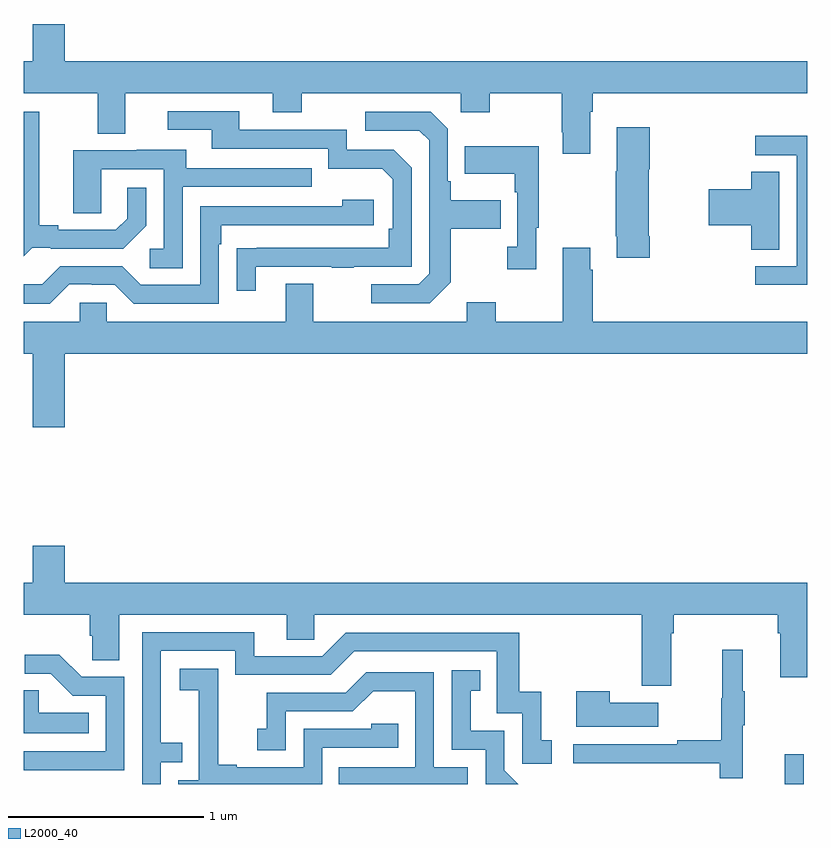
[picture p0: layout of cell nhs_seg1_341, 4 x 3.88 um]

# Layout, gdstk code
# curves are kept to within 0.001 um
import gdstk
lib = gdstk.Library(unit=1e-6, precision=1e-09)
def R(c, l, rs):  # rectangles x0, y0, x1, y1
    for r in rs: c.add(gdstk.rectangle(r[:2], r[2:], *l))
def P(c, l, *ps):  # polygons
    for p in ps: c.add(gdstk.Polygon(p, *l))
L2000_40 = (2000, 40)

nhs_seg1_341 = lib.new_cell('nhs_seg1_341')
R(nhs_seg1_341, L2000_40, [(132.885,552.199,132.982,552.352)])
P(nhs_seg1_341, L2000_40, [(131.893,555.632),(131.906,555.632),(131.906,555.728),(133,555.728),(133,555.892),(129.208,555.892),(129.208,556.081),(129.044,556.081),(129.044,555.892),(129,555.892),(129,555.728),(129.377,555.728),(129.377,555.52),(129.517,555.52),(129.517,555.728),(130.271,555.728),(130.271,555.629),(130.419,555.629),(130.419,555.728),(131.232,555.728),(131.232,555.629),(131.379,555.629),(131.379,555.728),(131.746,555.728),(131.746,555.529),(131.753,555.529),(131.753,555.417),(131.893,555.417)],
  [(130.183,554.841),(130.573,554.841),(130.573,554.836),(130.685,554.836),(130.685,554.841),(130.98,554.841),(130.98,555.348),(130.89,555.438),(130.65,555.438),(130.65,555.54),(130.099,555.54),(130.099,555.636),(129.735,555.636),(129.735,555.54),(129.959,555.54),(129.959,555.444),(130.554,555.444),(130.554,555.341),(130.831,555.341),(130.884,555.288),(130.884,555.034),(130.864,555.034),(130.864,554.937),(130.087,554.936),(130.087,554.718),(130.183,554.718)],
  [(129.042,554.937),(129.136,554.937),(129.136,554.934),(129.508,554.934),(129.624,555.05),(129.624,555.244),(129.527,555.244),(129.527,555.087),(129.47,555.03),(129.175,555.03),(129.175,555.053),(129.079,555.053),(129.079,555.633),(129,555.633),(129,554.895)],
  [(131.179,554.761),(131.179,555.034),(131.435,555.034),(131.435,555.181),(131.179,555.181),(131.179,555.277),(131.166,555.277),(131.166,555.546),(131.079,555.633),(130.743,555.633),(130.743,555.537),(131.019,555.537),(131.07,555.486),(131.07,554.805),(131.016,554.751),(130.773,554.751),(130.773,554.655),(131.073,554.655)],
  [(132.197,554.998),(132.192,554.998),(132.192,555.34),(132.197,555.34),(132.197,555.553),(132.029,555.553),(132.029,555.329),(132.022,555.329),(132.022,554.998),(132.029,554.998),(132.029,554.886),(132.197,554.886)],
  [(133,555.51),(132.735,555.51),(132.735,555.411),(132.948,555.411),(132.948,554.844),(132.735,554.844),(132.735,554.748),(133,554.748)],
  [(131.617,555.041),(131.629,555.041),(131.629,555.457),(131.251,555.457),(131.251,555.317),(131.508,555.317),(131.508,555.221),(131.52,555.221),(131.52,554.942),(131.469,554.942),(131.469,554.829),(131.617,554.829)],
  [(129.81,555.249),(130.469,555.249),(130.469,555.345),(129.829,555.345),(129.829,555.439),(129.575,555.439),(129.575,555.435),(129.251,555.435),(129.251,555.115),(129.396,555.115),(129.396,555.339),(129.714,555.339),(129.714,554.934),(129.642,554.934),(129.642,554.833),(129.81,554.833)],
  [(132.859,555.326),(132.716,555.326),(132.716,555.236),(132.498,555.236),(132.498,555.053),(132.716,555.053),(132.716,554.929),(132.859,554.929)],
  [(129.231,554.751),(129.347,554.751),(129.347,554.748),(129.465,554.748),(129.561,554.652),(129.996,554.652),(129.996,554.957),(130.009,554.957),(130.009,555.054),(130.786,555.054),(130.786,555.184),(130.625,555.184),(130.625,555.15),(129.9,555.15),(129.9,554.748),(129.597,554.748),(129.501,554.844),(129.186,554.844),(129.093,554.751),(129,554.751),(129,554.651),(129.131,554.651)],
  [(129.208,554.396),(133,554.396),(133,554.56),(131.906,554.56),(131.906,554.825),(131.893,554.825),(131.893,554.938),(131.753,554.938),(131.753,554.56),(131.409,554.56),(131.409,554.659),(131.261,554.659),(131.261,554.56),(130.477,554.56),(130.477,554.755),(130.337,554.755),(130.337,554.56),(129.423,554.56),(129.423,554.658),(129.285,554.658),(129.285,554.56),(129,554.56),(129,554.396),(129.044,554.396),(129.044,554.022),(129.208,554.022)],
  [(132.307,552.968),(132.32,552.968),(132.32,553.064),(132.851,553.064),(132.851,552.968),(132.863,552.968),(132.863,552.744),(133,552.744),(133,553.228),(129.208,553.228),(129.208,553.417),(129.044,553.417),(129.044,553.228),(129,553.228),(129,553.064),(129.335,553.064),(129.335,552.955),(129.348,552.955),(129.348,552.832),(129.487,552.832),(129.487,553.064),(130.343,553.064),(130.343,552.937),(130.482,552.937),(130.482,553.064),(132.155,553.064),(132.155,552.702),(132.307,552.702)],
  [(129.699,552.309),(129.809,552.309),(129.809,552.41),(129.699,552.41),(129.699,552.879),(130.08,552.879),(130.08,552.756),(130.566,552.756),(130.686,552.876),(131.415,552.876),(131.415,552.561),(131.544,552.561),(131.544,552.303),(131.695,552.303),(131.695,552.423),(131.642,552.423),(131.642,552.67),(131.531,552.67),(131.531,552.972),(130.644,552.972),(130.524,552.852),(130.177,552.852),(130.177,552.975),(129.603,552.975),(129.603,552.199),(129.699,552.199)],
  [(132.671,552.499),(132.682,552.499),(132.682,552.673),(132.671,552.673),(132.671,552.886),(132.568,552.886),(132.568,552.636),(132.561,552.636),(132.561,552.422),(132.337,552.422),(132.337,552.402),(131.805,552.402),(131.805,552.306),(132.553,552.306),(132.553,552.228),(132.671,552.228)],
  [(129.513,552.747),(129.294,552.747),(129.181,552.86),(129.003,552.86),(129.003,552.762),(129.137,552.762),(129.248,552.651),(129.417,552.651),(129.417,552.366),(129,552.366),(129,552.27),(129.513,552.27)],
  [(130.524,552.384),(130.913,552.384),(130.913,552.507),(130.773,552.507),(130.773,552.48),(130.428,552.48),(130.428,552.285),(130.087,552.285),(130.087,552.298),(129.992,552.298),(129.992,552.581),(129.993,552.581),(129.993,552.787),(129.795,552.787),(129.795,552.677),(129.893,552.677),(129.893,552.449),(129.894,552.449),(129.894,552.219),(129.789,552.219),(129.789,552.199),(130.524,552.199)],
  [(131.454,552.27),(131.454,552.471),(131.281,552.471),(131.281,552.675),(131.33,552.675),(131.33,552.781),(131.184,552.781),(131.184,552.375),(131.358,552.375),(131.358,552.199),(131.525,552.199)],
  [(131.268,552.285),(131.094,552.285),(131.094,552.771),(130.748,552.771),(130.643,552.666),(130.239,552.666),(130.239,552.481),(130.191,552.481),(130.191,552.372),(130.338,552.372),(130.338,552.57),(130.68,552.57),(130.784,552.674),(130.998,552.674),(130.998,552.285),(130.609,552.285),(130.609,552.199),(131.268,552.199)],
  [(129.332,552.562),(129.075,552.562),(129.075,552.677),(129,552.677),(129,552.458),(129.332,552.458)],
  [(132.241,552.613),(131.993,552.613),(131.993,552.673),(131.822,552.673),(131.822,552.491),(132.241,552.491)])

lib.write_gds('nhs_seg1_341.gds')
